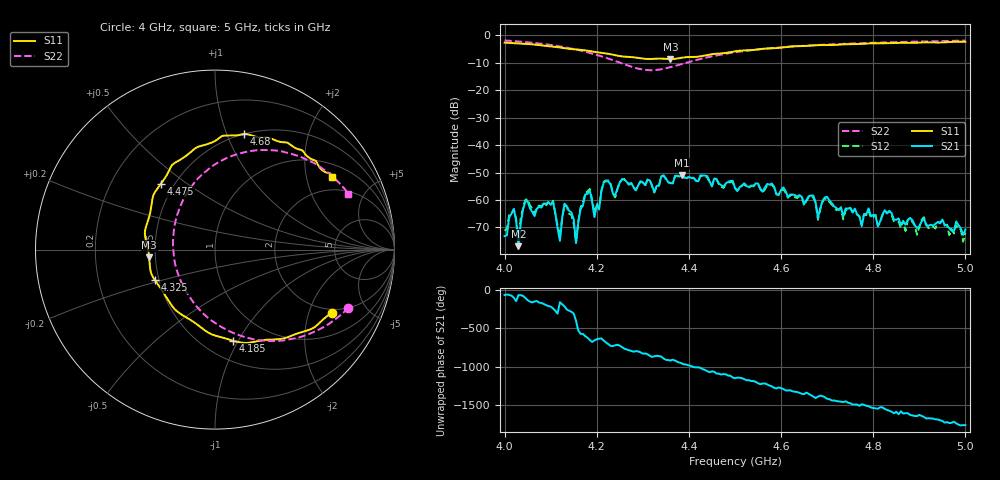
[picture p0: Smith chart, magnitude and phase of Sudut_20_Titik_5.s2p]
# Hz S RI R 50
! CMT, C1220, 16058040, 17.2.0/1
! Date: 15/08/2018 12:18:11
! Data: Format (Calibration Info)
! Freq  S11: Re/Im (F2)  S21: Re/Im (F2)  S12: Re/Im (F2)  S22: Re/Im (F2)
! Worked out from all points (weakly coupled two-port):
!   201 points, 4 GHz to 5 GHz, reference 50 ohm
!   highest |S21| = -50.98 dB at 4.385 GHz (marker M1); lowest = -76.9 dB at 4.03 GHz (marker M2)
!   lowest |S11| = -8.6 dB at 4.36 GHz (marker M3), VSWR 2.17, Z = 23.1 - j2.28 ohm
!   |S11| at or under -10 dB: nowhere
!   |S22| runs from -12.7 to -1.8 dB; largest |S21 - S12| = 0.00018
!   S11 on the Smith chart (normalised r, x): 4 GHz: 1.85, -2.87; 4.185 GHz: 0.69, -0.96; 4.325 GHz: 0.47, -0.19; 4.475 GHz: 0.42, +0.40; 4.68 GHz: 0.50, +1.16; 5 GHz: 1.45, +2.85
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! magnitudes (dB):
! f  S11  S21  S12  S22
! 4 GHz  -2.6  -73.2  -71.3  -1.8
! 4.02 GHz  -2.8  -63.4  -63.4  -2.1
! 4.03 GHz  -2.9  -76.9  -74.8  -2.2
! 4.045 GHz  -3.0  -60.6  -59.9  -2.4
! 4.105 GHz  -4.1  -60.7  -60.4  -3.6
! 4.12 GHz  -4.4  -75.0  -73.6  -4.0
! 4.13 GHz  -4.7  -61.4  -61.8  -4.3
! 4.155 GHz  -5.1  -75.7  -75.5  -5.1
! 4.17 GHz  -5.4  -62.0  -60.9  -5.7
! 4.185 GHz  -5.7  -56.6  -56.0  -6.4
! 4.195 GHz  -6.0  -66.3  -65.0  -6.8
! 4.22 GHz  -6.5  -53.2  -52.9  -8.1
! 4.325 GHz  -8.5  -57.2  -57.3  -12.7
! 4.335 GHz  -8.4  -54.7  -54.8  -12.5
! 4.36 GHz  -8.6  -53.8  -53.9  -11.6
! 4.385 GHz  -8.1  -51.0  -51.1  -10.4
! 4.475 GHz  -6.5  -55.2  -55.7  -6.8
! 4.5 GHz  -5.8  -55.6  -55.7  -6.1
! 4.67 GHz  -3.6  -58.4  -59.2  -3.6
! 4.68 GHz  -3.5  -66.5  -67.2  -3.5
! 4.835 GHz  -2.8  -64.0  -64.0  -2.5
! 5 GHz  -2.3  -70.8  -72.0  -1.9
